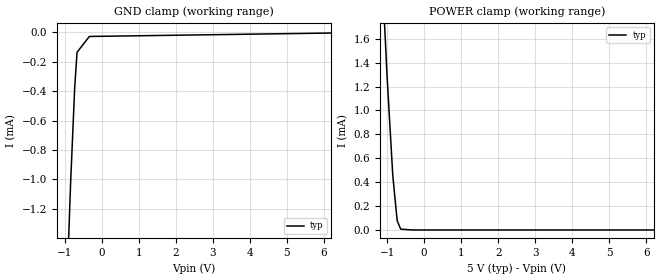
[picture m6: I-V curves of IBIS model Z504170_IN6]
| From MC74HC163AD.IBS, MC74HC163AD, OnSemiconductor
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| (C) COPYRIGHT 1993-2000
| MENTOR GRAPHICS CORPORATION
| ICX STANDARD LIBRARY, ICX PROJECT MODELING,
| ICX CUSTOM MODELING, ICX VENDOR MODEL
| ALL RIGHTS RESERVED.
| THE FOLLOWING ARE TRADEMARKS OR SERVICE MARKS OF
| MENTOR GRAPHICS CORPORATION:ICX (R), ICX STANDARD
| LIBRARY(R), ICX PROJECT MODELING(R), ICX CUSTOM
| MODELING(R), qualityIBIS(TM), MODELVIEWER(TM),
| AND MODELEDITOR(TM)
| ALL COPIES OF SOFTWARE, INCLUDING BUT NOT LIMITED TO
| ANY MODIFICATIONS, ENHANCEMENTS OR DERIVATIVE WORKS,
| MUST CONTAIN ALL MENTOR GRAPHICS CORPORATION'S
| NOTICES AND LEGENDS, INCLUDING THOSE EMBEDDED IN
| SOFTWARE AND THOSE AFFIXED TO SOFTWARE MEDIUM
| AND CONTAINER, AS RECEIVED FROM MENTOR GRAPHICS
| CORPORATION.
| Model Application Version 1.89 2/18/99.
[Model] Z504170_IN6
Model_type Input
Vinl = 1.000V
Vinh = 3.500V
C_comp 4.000pF NA NA
| variable typ   min   max
[Voltage Range] 5.000V NA NA
[GND Clamp Reference] 0.000V NA NA
[POWER Clamp Reference] 5.000V NA NA
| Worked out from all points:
|   GND clamp passes 1 mA (typ) near -0.83 V on its own axis
|   POWER clamp passes 1 mA (typ) near -0.95 V on its own axis
[GND Clamp]
-5V       -32.4mA    NA         NA
-1.119V   -3.022mA   NA         NA
-839.3mV  -1.034mA   NA         NA
-727.5mV  -375.5uA   NA         NA
-664.6mV  -135.7uA   NA         NA
-332.3mV  -27.54uA   NA         NA
10V       9.383uA    NA         NA
[POWER Clamp]
-5V       30.81mA    NA         NA
-1.392V   3.958mA    NA         NA
-1.093V   1.878mA    NA         NA
-1V       1.28mA     NA         NA
-847mV    457.4uA    NA         NA
-729mV    79.29uA    NA         NA
-634mV    6.94uA     NA         NA
-317mV    0A         NA         NA
10V       0A         NA         NA
